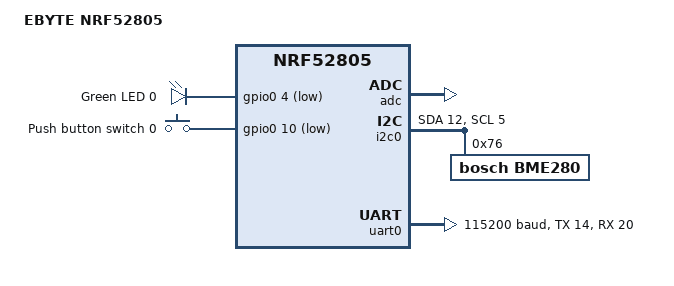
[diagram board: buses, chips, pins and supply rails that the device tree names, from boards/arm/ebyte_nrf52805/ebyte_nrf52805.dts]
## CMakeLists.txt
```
# SPDX-License-Identifier: Apache-2.0

cmake_minimum_required(VERSION 3.13.1)
find_package(Zephyr REQUIRED HINTS $ENV{ZEPHYR_BASE})
project(zephyr-bme280)

target_sources(app PRIVATE src/main.c src/led.c src/ble.c)
target_include_directories(app PRIVATE inc)
```

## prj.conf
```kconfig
CONFIG_GPIO=y
CONFIG_CLOCK_CONTROL_NRF=y
CONFIG_CLOCK_CONTROL_NRF_K32SRC_RC=y
CONFIG_CLOCK_CONTROL_NRF_K32SRC_20PPM=y

CONFIG_BT=y
CONFIG_BT_DEBUG_LOG=y
CONFIG_BT_DEVICE_NAME="zephyr-bme280"
CONFIG_BT_HCI=y
CONFIG_BT_CTLR=y

CONFIG_I2C=y
CONFIG_SENSOR=y
CONFIG_BME280=y
```

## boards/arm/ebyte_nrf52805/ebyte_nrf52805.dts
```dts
/*
 * SPDX-License-Identifier: Apache-2.0
 */

/dts-v1/;
#include <nordic/nrf52805_caaa.dtsi>

/ {
    model = "EBYTE NRF52805";
    compatible = "ebyte,ebyte-nrf52805";

    chosen {
        zephyr,console = &uart0;
        zephyr,shell-uart = &uart0;
        zephyr,uart-mcumgr = &uart0;
        zephyr,bt-mon-uart = &uart0;
        zephyr,bt-c2h-uart = &uart0;
        zephyr,sram = &sram0;
        zephyr,flash = &flash0;
        zephyr,code-partition = &slot0_partition;
    };

    leds {
        compatible = "gpio-leds";
        led0: led_0 {
            gpios = <&gpio0 4 GPIO_ACTIVE_LOW>;
            label = "Green LED 0";
        };
    };

    gpio_keys {
        compatible = "gpio-keys";
        button0: button_0 {
            label = "Push button switch 0";
            gpios = <&gpio0 10 (GPIO_PULL_UP | GPIO_ACTIVE_LOW)>;
        };
    };

    /* These aliases are provided for compatibility with samples */
    aliases {
        led0 = &led0;
        sw0 = &button0;
    };
};

&adc {
    status = "okay";
};

&gpio0 {
    status = "okay";
};

&gpiote {
    status = "okay";
};

&i2c0 {
    compatible = "nordic,nrf-twi";
    status = "okay";
    sda-pin = <12>;
    scl-pin = <5>;

    bme280@76 {
        compatible = "bosch,bme280";
        reg = <0x76>; /* SDO pulled down */
        label = "BME280";
    };
};
/*
&spi0 {
    compatible = "nordic,nrf-spi";
    status = "okay";
    sck-pin = <29>;
    mosi-pin = <31>;
    miso-pin = <30>;
};
 */
&uart0 {
    compatible = "nordic,nrf-uarte";
    status = "okay";
    current-speed = <115200>;
    tx-pin = <14>;
    rx-pin = <20>;
};

&flash0 {
    /*
     * For more information, see:
     * http://docs.zephyrproject.org/latest/guides/dts/index.html#flash-partitions
     */
    partitions {
        compatible = "fixed-partitions";
        #address-cells = <1>;
        #size-cells = <1>;

        boot_partition: partition@0 {
            label = "mcuboot";
            reg = <0x00000000 0xc000>;
        };
        slot0_partition: partition@c000 {
            label = "image-0";
            reg = <0x0000C000 0xd000>;
        };
        slot1_partition: partition@19000 {
            label = "image-1";
            reg = <0x00019000 0xd000>;
        };
        scratch_partition: partition@26000 {
            label = "image-scratch";
            reg = <0x00026000 0x3000>;
        };
        storage_partition: partition@29000 {
            label = "storage";
            reg = <0x00029000 0x00007000>;
        };
    };
};
```

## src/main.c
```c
/*
 * Copyright (c) 2016 Intel Corporation
 *
 * SPDX-License-Identifier: Apache-2.0
 */

#include <zephyr.h>
#include <device.h>
#include <devicetree.h>
#include <drivers/sensor.h>
#include <led.h>
#include <ble.h>

#define SLEEP_TIME_MS (10000)

#define BME280 DT_INST(0, bosch_bme280)
#if DT_NODE_HAS_STATUS(BME280, okay)
#define BME280_LABEL DT_LABEL(BME280)
#else
#error Your devicetree has no enabled nodes with compatible "bosch,bme280"
#define BME280_LABEL "<none>"
#endif


struct queue_led_item_t queue_led_item;

void main(void)
{
    const struct device *bme280;

    printk("Build date: " __DATE__ " " __TIME__"\n");

    /* Init env sensor */
    bme280 = device_get_binding(BME280_LABEL);
    if (bme280 == NULL) {
        printk("%s not found\n", BME280_LABEL);
    } else {
        printk("%s found\n", BME280_LABEL);
    }

    /* Main loop */
    while (1) {
        struct sensor_value temp, press, humidity;

        /* Indicate activity start */
        queue_led_item.led_state = 1;
        k_queue_append(&queue_led, (void *)&queue_led_item);

        uint64_t uptime = k_uptime_get();
        ble_update(uptime);

        if (bme280 != NULL)
        {
            sensor_sample_fetch(bme280);
            sensor_channel_get(bme280, SENSOR_CHAN_AMBIENT_TEMP, &temp);
            sensor_channel_get(bme280, SENSOR_CHAN_PRESS, &press);
            sensor_channel_get(bme280, SENSOR_CHAN_HUMIDITY, &humidity);

            printk("[%6lld.%03lld] T: %d.%02d C; P: %d.%02d kPa; H: %d.%02d %%\n",
                uptime/1000, uptime%1000, temp.val1, temp.val2/10000,
                press.val1, press.val2/10000, humidity.val1, humidity.val2/10000);
        }

        /* Indicate activity stop */
        queue_led_item.led_state = 0;
        k_queue_append(&queue_led, (void *)&queue_led_item);

        k_sleep(K_MSEC(SLEEP_TIME_MS));
    }
}
```

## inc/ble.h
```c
#ifndef BLE_H
#define BLE_H

void ble_update(uint64_t uptime);

#endif /* BLE_H */
```

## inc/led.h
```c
#ifndef LED_H
#define LED_H

/* Queue to talk to LED thread */
extern struct k_queue queue_led;

/* Data to be passed by queue */
struct queue_led_item_t
{
    uint32_t reserved;
    uint32_t led_state;
};

#endif /* LED_H */
```

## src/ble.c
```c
#include <zephyr.h>
#include <device.h>
#include <sys/printk.h>
#include <bluetooth/bluetooth.h>
#include <bluetooth/hci.h>
#include <stdio.h> //snprintf

#define STACKSIZE 1024
#define PRIORITY 7


typedef enum {
    BLE_NOT_READY,
    BLE_READY,
} ble_state_t;

static volatile ble_state_t ble_state = BLE_NOT_READY;
uint8_t devname[25];

static const struct bt_data ad[] = {
    BT_DATA_BYTES(BT_DATA_FLAGS, BT_LE_AD_NO_BREDR),
    BT_DATA_BYTES(BT_DATA_UUID16_ALL, 0xaa, 0xfe),
    BT_DATA_BYTES(BT_DATA_SVC_DATA16,
            0xaa, 0xfe, /* Eddystone UUID */
            0x10, /* Eddystone-URL frame type */
            0x00, /* Calibrated Tx power at 0m */
            0x00, /* URL Scheme Prefix http://www. */
            'z', 'e', 'p', 'h', 'y', 'r',
            'p', 'r', 'o', 'j', 'e', 'c', 't',
            0x08) /* .org */
};

static void bt_ready(int err)
{
    if (err)
    {
        printk("Bluetooth init failed (err %d)\n", err);
        return;

    }
    else
    {
        ble_state = BLE_READY;
    }


    /* For connectable advertising you would use
     * bt_le_oob_get_local().  For non-connectable non-identity
     * advertising an non-resolvable private address is used;
     * there is no API to retrieve that.
     */
}

void ble_update(uint64_t uptime)
{
    char addr_s[BT_ADDR_LE_STR_LEN];
    bt_addr_le_t addr = {0};
    size_t count = 1;
    uint32_t uptime_s;
    int err;

    /* Set Scan Response data */
    static struct bt_data sd[] = {
        BT_DATA(BT_DATA_NAME_COMPLETE, &devname[0], 0)
    };

    uptime_s = k_uptime_get() / 1000;
    snprintf(devname, sizeof(devname), "%s:%d", "zephyr-bme280", uptime_s);
    sd[0].data_len = strlen(&devname[0]);

    if (ble_state == BLE_READY)
    {
        /* Stop advertising */
        err = bt_le_adv_stop();
        if (err)
        {
            printk("Advertising failed to stop (err %d)\n", err);
        }

        /* Start advertising with new params */
        err = bt_le_adv_start(BT_LE_ADV_NCONN_IDENTITY, ad, ARRAY_SIZE(ad),
                sd, ARRAY_SIZE(sd));
        if (err)
        {
            printk("Advertising failed to start (err %d)\n", err);
        }
        else
        {
            bt_id_get(&addr, &count);
            bt_addr_le_to_str(&addr, addr_s, sizeof(addr_s));
            printk("Beacon started, advertising as %s\n", addr_s);
        }
    }
}

void ble_main(void)
{
    /* Initialize the Bluetooth Subsystem */
    int ret = bt_enable(bt_ready);
    if (ret) {
        printk("Bluetooth init failed (err %d)\n", ret);
    }
}

K_THREAD_DEFINE(thread_ble, STACKSIZE, ble_main, NULL, NULL, NULL, PRIORITY, 0, 0);
```

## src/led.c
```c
#include <zephyr.h>
#include <device.h>
#include <sys/printk.h>
#include <drivers/gpio.h>
#include <led.h>

#define STACKSIZE 1024
#define PRIORITY 7

#define LED_PIN (4)

K_QUEUE_DEFINE(queue_led);

void led_main(void *dummy1, void *dummy2, void *dummy3)
{
    ARG_UNUSED(dummy1);
    ARG_UNUSED(dummy2);
    ARG_UNUSED(dummy3);
    const struct device *gpio0;
    int ret;

    /* Configure LED */
    gpio0 = device_get_binding("GPIO_0");
    if (gpio0 == NULL)
    {
        printk("Failed to get GPIO_0\n");
        return;
    } else {
        ret = gpio_pin_configure(gpio0, LED_PIN, GPIO_OUTPUT);
        if (ret < 0)
        {
            printk("Failed to configure LED pin\n");
            return;
        }
    }

    while(1)
    {
        struct queue_led_item_t *queue_led_item = k_queue_get(&queue_led, K_FOREVER);
        gpio_pin_set(gpio0, LED_PIN, queue_led_item->led_state);
    }
}

K_THREAD_DEFINE(thread_led, STACKSIZE, led_main, NULL, NULL, NULL, PRIORITY, 0, 0);
```
